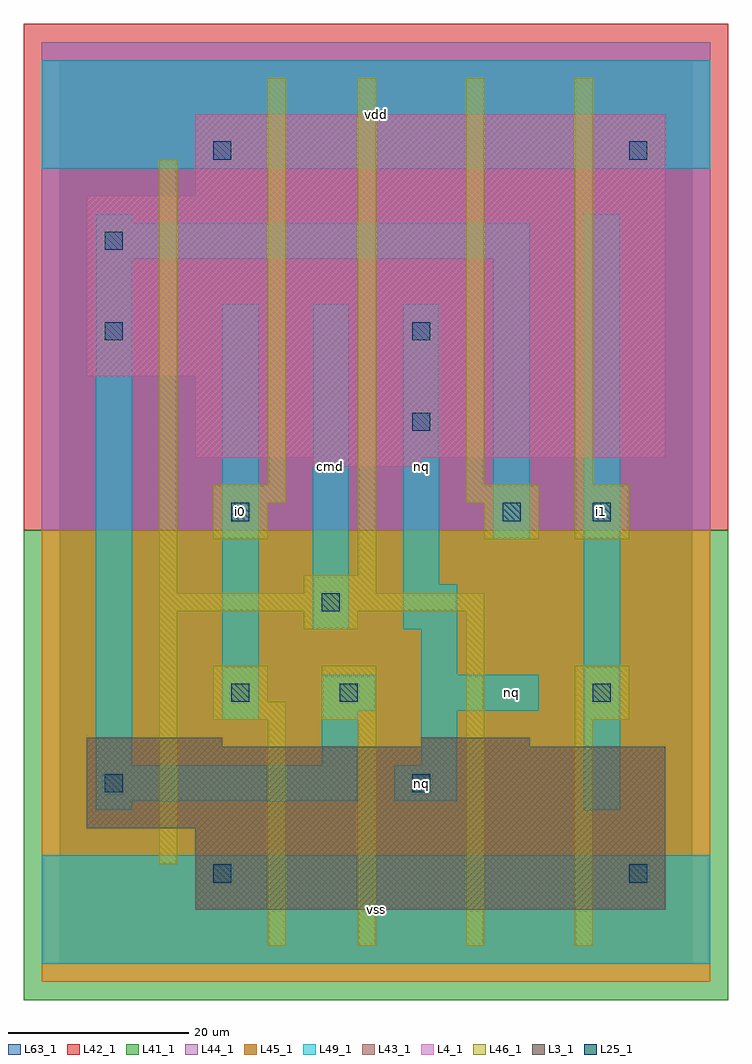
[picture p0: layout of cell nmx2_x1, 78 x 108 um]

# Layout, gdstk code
import gdstk
lib = gdstk.Library(unit=1e-6, precision=1e-09)
def R(c, l, rs):  # rectangles x0, y0, x1, y1
    for r in rs: c.add(gdstk.rectangle(r[:2], r[2:], *l))
L3_1 = (3, 1)
L4_1 = (4, 1)
L25_1 = (25, 1)
L41_1 = (41, 1)
L42_1 = (42, 1)
L43_1 = (43, 1)
L44_1 = (44, 1)
L45_1 = (45, 1)
L46_1 = (46, 1)
L49_1 = (49, 1)
L63_1 = (63, 1)

nmx2_x1 = lib.new_cell('nmx2_x1')
R(nmx2_x1, L3_1, [(15,6,67,15), (3,15,67,24), (3,24,18,25), (40,24,52,25)])
R(nmx2_x1, L4_1, [(28,55,40,56), (15,56,67,65), (3,65,67,85), (15,85,67,94)])
R(nmx2_x1, L25_1, [(17,9,19,11), (63,9,65,11), (5,19,7,21), (39,19,41,21), (19,29,21,31), (31,29,33,31), (59,29,61,31), (29,39,31,41), (19,49,21,51), (49,49,51,51), (59,49,61,51), (39,59,41,61), (5,69,7,71), (39,69,41,71), (5,79,7,81), (17,89,19,91), (63,89,65,91)])
R(nmx2_x1, L41_1, [(-4,-4,74,48)])
R(nmx2_x1, L42_1, [(-4,48,74,104)])
R(nmx2_x1, L43_1, [(15,6,67,15), (3,15,67,24), (3,24,18,25), (40,24,52,25), (28,55,40,56), (15,56,67,65), (3,65,67,85), (15,85,67,94)])
R(nmx2_x1, L44_1, [(-2,48,72,102)])
R(nmx2_x1, L45_1, [(-2,-2,72,48)])
R(nmx2_x1, L46_1, [(23,2,25,27), (33,2,35,27), (45,2,47,39), (57,2,59,27), (11,11,13,39), (17,27,25,29), (29,27,35,33), (57,27,63,33), (17,29,23,33), (27,37,33,39), (11,39,47,41), (11,41,13,89), (27,41,35,43), (33,43,35,98), (17,47,23,51), (47,47,53,51), (57,47,63,53), (17,51,25,53), (45,51,53,53), (23,53,25,98), (45,53,47,98), (57,53,59,98)])
R(nmx2_x1, L49_1, [(-2,0,72,12), (4,17,8,18), (58,17,62,83), (4,18,33,22), (37,18,44,22), (4,22,8,78), (29,22,33,28), (40,22,44,28), (18,27,22,73), (29,28,35,32), (40,28,53,32), (40,32,44,37), (28,37,32,73), (38,37,44,42), (38,42,42,73), (48,47,52,78), (4,78,52,82), (4,82,8,83), (-2,88,72,100)])
R(nmx2_x1, L63_1, [(0,0,70,100)])
nmx2_x1.add(gdstk.Label('i0', (20,50), layer=49, texttype=1))
nmx2_x1.add(gdstk.Label('cmd', (30,55), layer=49, texttype=1))
nmx2_x1.add(gdstk.Label('vss', (35,6), layer=49, texttype=1))
nmx2_x1.add(gdstk.Label('nq', (40,20), layer=49, texttype=1))
nmx2_x1.add(gdstk.Label('nq', (50,30), layer=49, texttype=1))
nmx2_x1.add(gdstk.Label('nq', (40,55), layer=49, texttype=1))
nmx2_x1.add(gdstk.Label('vdd', (35,94), layer=49, texttype=1))
nmx2_x1.add(gdstk.Label('i1', (60,50), layer=49, texttype=1))

lib.write_gds('nmx2_x1.gds')
